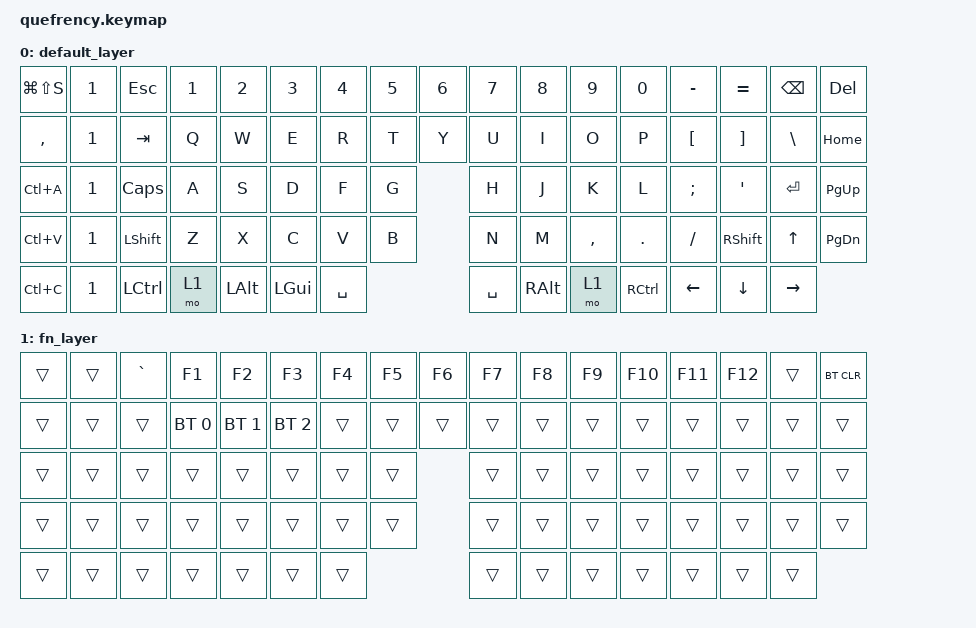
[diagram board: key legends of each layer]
/*
 * Copyright (c) 2020 The ZMK Contributors
 *
 * SPDX-License-Identifier: MIT
 */

#include <behaviors.dtsi>
#include <dt-bindings/zmk/bt.h>
#include <dt-bindings/zmk/keys.h>
#include "quefrency.dtsi"

/ {
    keymap {
        compatible = "zmk,keymap";

// ----------------------------------------------      -----------------------------------------------------
// | ESC  |  1   |  2  |  3   |  4  |  5  |  6  |      |  7  |  8  |  9  |  0  |  -  |  =  |  BKSPC |  `   |
// | TAB   |  Q   |  W  |  E   |  R  |  T  |        |  Y  |  U  |  I  |  O  |  P  |  [  |  ]  |  \  | DEL  |
// | LCTRL  |  A   |  S  |  D   |  F  |  G  |        |  H  |  J  |  K  |  L  |  ;  |  '  |   ENTER  | PGUP |
// | SHIFT   |  Z   |  X  |  C  |  V   |  B  |        |  N  |  M  |  ,  |  .  |  /  |  RSHFT  |  UP | PGDN |
// | LCTRL   | LGUI | LALT |   SPACE   | FN  |        |    SPACE    | RALT | FN | RCTRL | LFT | DWN | RGHT |
// -------------------------------------------        ------------------------------------------------------

        default_layer {
            bindings = <
    &kp LG(LS(S))   &kp N1 &kp ESC   &kp N1   &kp N2   &kp N3    &kp N4 &kp N5 &kp N6 /**/ &kp N7    &kp N8   &kp N9    &kp N0    &kp MINUS &kp EQUAL &kp BSPC &kp DEL
    &kp COMMA   &kp N1 &kp TAB   &kp Q    &kp W    &kp E     &kp R  &kp T         /**/ &kp Y     &kp U    &kp I     &kp O     &kp P     &kp LBKT  &kp RBKT &kp BSLH &kp HOME
    &kp LC(A)   &kp N1 &kp CAPS &kp A    &kp S    &kp D     &kp F  &kp G         /**/ &kp H     &kp J    &kp K     &kp L     &kp SEMI  &kp SQT   &kp RET  &kp PG_UP
    &kp LC(V)   &kp N1 &kp LSHFT &kp Z    &kp X    &kp C     &kp V  &kp B         /**/ &kp N     &kp M    &kp COMMA &kp DOT   &kp FSLH  &kp RSHFT &kp UP   &kp PG_DN
    &kp LC(C)   &kp N1 &kp LCTRL &mo 1    &kp LALT &kp LGUI  &kp SPACE            /**/ &kp SPACE &kp RALT &mo 1     &kp RCTRL &kp LEFT  &kp DOWN  &kp RIGHT
            >;
        };

// ----------------------------------------------     -----------------------------------------------------
// |BT_CLR|  F1  |  F2 |  F3  |  F4 |  F5 |  F6 |     |  F7 |  F8 |  F9 | F10 | F11 | F12 |        |BT_CLR|
// |       | BT-0 | BT-1| BT-2 |     |     |       |     |     |     |     |     |     |     |     |      |
// |        |      |     |      |     |     |       |     |     |     |     |     |     |          |      |
// |         |      |     |     |      |     |       |     |     |     |     |     |         |     |      |
// |         |      |      |           |     |       |             |      |    |       |     |     |      |
// -------------------------------------------       ------------------------------------------------------

        fn_layer {
            bindings = <
    &trans     &trans   &kp GRAVE  &kp F1       &kp F2       &kp F3       &kp F4 &kp F5 &kp F6 /**/ &kp F7 &kp F8 &kp F9 &kp F10 &kp F11 &kp F12 &trans &bt BT_CLR
    &trans     &trans   &trans     &bt BT_SEL 0 &bt BT_SEL 1 &bt BT_SEL 2 &trans &trans        /**/ &trans &trans &trans &trans  &trans  &trans  &trans &trans &trans
    &trans     &trans   &trans     &trans       &trans       &trans       &trans &trans        /**/ &trans &trans &trans &trans  &trans  &trans  &trans &trans
    &trans     &trans   &trans     &trans       &trans       &trans       &trans &trans        /**/ &trans &trans &trans &trans  &trans  &trans  &trans &trans
    &trans     &trans   &trans     &trans       &trans       &trans       &trans               /**/ &trans &trans &trans &trans  &trans  &trans  &trans
            >;
        };
    };
};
